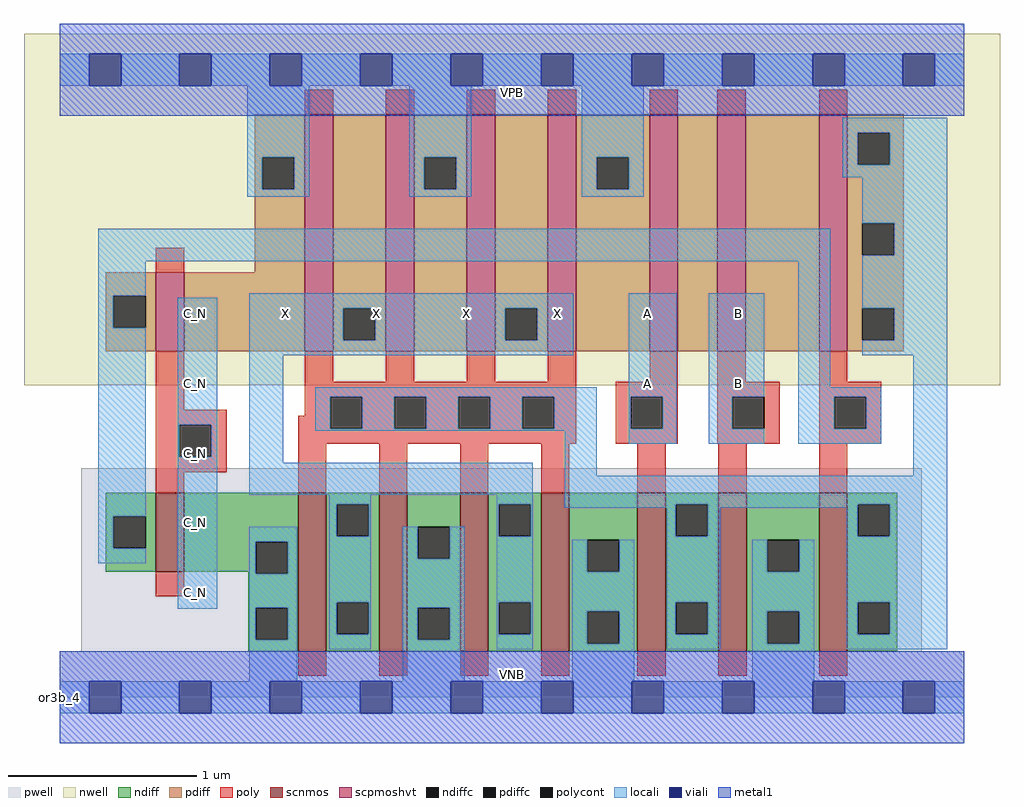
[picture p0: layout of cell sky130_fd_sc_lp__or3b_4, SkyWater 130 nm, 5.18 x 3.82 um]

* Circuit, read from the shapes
.subckt sky130_fd_sc_lp__or3b_4 A B C_N VGND VNB VPB VPWR X
XM1 VGND C_N n1 VNB sky130_fd_pr__nfet_01v8 w=0.42 l=0.15
XM2 X n2 VGND VNB sky130_fd_pr__nfet_01v8 w=0.84 l=0.15 m=4
XM3 n2 A VGND VNB sky130_fd_pr__nfet_01v8 w=0.84 l=0.15
XM4 VGND B n2 VNB sky130_fd_pr__nfet_01v8 w=0.84 l=0.15
XM5 n2 n1 VGND VNB sky130_fd_pr__nfet_01v8 w=0.84 l=0.15
XM6 VPWR C_N n1 VPB sky130_fd_pr__pfet_01v8_hvt w=0.42 l=0.15
XM7 X n2 VPWR VPB sky130_fd_pr__pfet_01v8_hvt w=1.26 l=0.15 m=4
XM8 n3 A VPWR VPB sky130_fd_pr__pfet_01v8_hvt w=1.26 l=0.15
XM9 n4 B n3 VPB sky130_fd_pr__pfet_01v8_hvt w=1.26 l=0.15
XM10 n2 n1 n4 VPB sky130_fd_pr__pfet_01v8_hvt w=1.26 l=0.15
.ends

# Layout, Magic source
magic
tech sky130A
magscale 1 2
<< nwell >>
rect -38 331 998 704
<< pwell >>
rect 23 49 915 243
rect 0 0 960 49
<< scnmos >>
rect 102 133 132 217
rect 253 49 283 217
rect 339 49 369 217
rect 425 49 455 217
rect 511 49 541 217
rect 613 49 643 217
rect 699 49 729 217
rect 806 49 836 217
<< scpmoshvt >>
rect 102 367 132 451
rect 260 367 290 619
rect 346 367 376 619
rect 432 367 462 619
rect 518 367 548 619
rect 626 367 656 619
rect 698 367 728 619
rect 806 367 836 619
<< ndiff >>
rect 49 192 102 217
rect 49 158 57 192
rect 91 158 102 192
rect 49 133 102 158
rect 132 165 253 217
rect 132 133 208 165
rect 200 131 208 133
rect 242 131 253 165
rect 200 95 253 131
rect 200 61 208 95
rect 242 61 253 95
rect 200 49 253 61
rect 283 205 339 217
rect 283 171 294 205
rect 328 171 339 205
rect 283 101 339 171
rect 283 67 294 101
rect 328 67 339 101
rect 283 49 339 67
rect 369 181 425 217
rect 369 147 380 181
rect 414 147 425 181
rect 369 95 425 147
rect 369 61 380 95
rect 414 61 425 95
rect 369 49 425 61
rect 455 205 511 217
rect 455 171 466 205
rect 500 171 511 205
rect 455 101 511 171
rect 455 67 466 101
rect 500 67 511 101
rect 455 49 511 67
rect 541 167 613 217
rect 541 133 560 167
rect 594 133 613 167
rect 541 91 613 133
rect 541 57 560 91
rect 594 57 613 91
rect 541 49 613 57
rect 643 205 699 217
rect 643 171 654 205
rect 688 171 699 205
rect 643 101 699 171
rect 643 67 654 101
rect 688 67 699 101
rect 643 49 699 67
rect 729 167 806 217
rect 729 133 751 167
rect 785 133 806 167
rect 729 91 806 133
rect 729 57 751 91
rect 785 57 806 91
rect 729 49 806 57
rect 836 205 889 217
rect 836 171 847 205
rect 881 171 889 205
rect 836 101 889 171
rect 836 67 847 101
rect 881 67 889 101
rect 836 49 889 67
<< pdiff >>
rect 207 573 260 619
rect 207 539 215 573
rect 249 539 260 573
rect 207 451 260 539
rect 49 426 102 451
rect 49 392 57 426
rect 91 392 102 426
rect 49 367 102 392
rect 132 367 260 451
rect 290 413 346 619
rect 290 379 301 413
rect 335 379 346 413
rect 290 367 346 379
rect 376 573 432 619
rect 376 539 387 573
rect 421 539 432 573
rect 376 367 432 539
rect 462 413 518 619
rect 462 379 473 413
rect 507 379 518 413
rect 462 367 518 379
rect 548 573 626 619
rect 548 539 570 573
rect 604 539 626 573
rect 548 367 626 539
rect 656 367 698 619
rect 728 367 806 619
rect 836 599 896 619
rect 836 565 847 599
rect 881 565 896 599
rect 836 503 896 565
rect 836 469 852 503
rect 886 469 896 503
rect 836 413 896 469
rect 836 379 852 413
rect 886 379 896 413
rect 836 367 896 379
<< ndiffc >>
rect 57 158 91 192
rect 208 131 242 165
rect 208 61 242 95
rect 294 171 328 205
rect 294 67 328 101
rect 380 147 414 181
rect 380 61 414 95
rect 466 171 500 205
rect 466 67 500 101
rect 560 133 594 167
rect 560 57 594 91
rect 654 171 688 205
rect 654 67 688 101
rect 751 133 785 167
rect 751 57 785 91
rect 847 171 881 205
rect 847 67 881 101
<< pdiffc >>
rect 215 539 249 573
rect 57 392 91 426
rect 301 379 335 413
rect 387 539 421 573
rect 473 379 507 413
rect 570 539 604 573
rect 847 565 881 599
rect 852 469 886 503
rect 852 379 886 413
<< poly >>
rect 260 619 290 645
rect 346 619 376 645
rect 432 619 462 645
rect 518 619 548 645
rect 626 619 656 645
rect 698 619 728 645
rect 806 619 836 645
rect 102 451 132 477
rect 102 305 132 367
rect 260 335 290 367
rect 346 335 376 367
rect 432 335 462 367
rect 518 335 548 367
rect 626 335 656 367
rect 260 319 548 335
rect 102 289 177 305
rect 260 299 287 319
rect 102 255 127 289
rect 161 255 177 289
rect 102 239 177 255
rect 253 285 287 299
rect 321 285 355 319
rect 389 285 423 319
rect 457 285 491 319
rect 525 285 548 319
rect 253 269 548 285
rect 590 319 656 335
rect 590 285 606 319
rect 640 285 656 319
rect 590 269 656 285
rect 698 335 728 367
rect 806 335 836 367
rect 698 319 764 335
rect 698 285 714 319
rect 748 285 764 319
rect 698 269 764 285
rect 806 319 872 335
rect 806 285 822 319
rect 856 285 872 319
rect 806 269 872 285
rect 102 217 132 239
rect 253 217 283 269
rect 339 217 369 269
rect 425 217 455 269
rect 511 217 541 269
rect 613 217 643 269
rect 699 217 729 269
rect 806 217 836 269
rect 102 107 132 133
rect 253 23 283 49
rect 339 23 369 49
rect 425 23 455 49
rect 511 23 541 49
rect 613 23 643 49
rect 699 23 729 49
rect 806 23 836 49
<< polycont >>
rect 127 255 161 289
rect 287 285 321 319
rect 355 285 389 319
rect 423 285 457 319
rect 491 285 525 319
rect 606 285 640 319
rect 714 285 748 319
rect 822 285 856 319
<< locali >>
rect 0 649 31 683
rect 65 649 127 683
rect 161 649 223 683
rect 257 649 319 683
rect 353 649 415 683
rect 449 649 511 683
rect 545 649 607 683
rect 641 649 703 683
rect 737 649 799 683
rect 833 649 895 683
rect 929 649 960 683
rect 199 573 265 649
rect 199 539 215 573
rect 249 539 265 573
rect 199 531 265 539
rect 371 573 437 649
rect 371 539 387 573
rect 421 539 437 573
rect 371 531 437 539
rect 554 573 620 649
rect 554 539 570 573
rect 604 539 620 573
rect 831 599 942 615
rect 831 565 847 599
rect 881 565 942 599
rect 831 552 942 565
rect 554 531 620 539
rect 852 503 942 552
rect 41 463 818 497
rect 41 426 91 463
rect 41 392 57 426
rect 41 192 91 392
rect 41 158 57 192
rect 41 142 91 158
rect 125 289 167 424
rect 125 255 127 289
rect 161 255 167 289
rect 125 94 167 255
rect 201 413 545 429
rect 201 379 301 413
rect 335 379 473 413
rect 507 379 545 413
rect 201 363 545 379
rect 201 249 237 363
rect 271 319 570 329
rect 271 285 287 319
rect 321 285 355 319
rect 389 285 423 319
rect 457 285 491 319
rect 525 285 570 319
rect 271 283 570 285
rect 201 215 502 249
rect 286 205 330 215
rect 201 165 252 181
rect 201 131 208 165
rect 242 131 252 165
rect 201 95 252 131
rect 201 61 208 95
rect 242 61 252 95
rect 201 17 252 61
rect 286 171 294 205
rect 328 171 330 205
rect 464 205 502 215
rect 286 101 330 171
rect 286 67 294 101
rect 328 67 330 101
rect 286 51 330 67
rect 364 147 380 181
rect 414 147 430 181
rect 364 95 430 147
rect 364 61 380 95
rect 414 61 430 95
rect 364 17 430 61
rect 464 171 466 205
rect 500 171 502 205
rect 536 235 570 283
rect 604 319 655 429
rect 604 285 606 319
rect 640 285 655 319
rect 604 269 655 285
rect 689 319 748 429
rect 689 285 714 319
rect 689 269 748 285
rect 784 329 818 463
rect 886 469 942 503
rect 852 413 942 469
rect 886 379 942 413
rect 852 363 942 379
rect 784 319 872 329
rect 784 285 822 319
rect 856 285 872 319
rect 784 269 872 285
rect 906 235 942 363
rect 536 205 942 235
rect 536 201 654 205
rect 464 101 502 171
rect 644 171 654 201
rect 688 201 847 205
rect 688 171 701 201
rect 464 67 466 101
rect 500 67 502 101
rect 464 51 502 67
rect 544 133 560 167
rect 594 133 610 167
rect 544 91 610 133
rect 544 57 560 91
rect 594 57 610 91
rect 544 17 610 57
rect 644 101 701 171
rect 835 171 847 201
rect 881 171 942 205
rect 644 67 654 101
rect 688 67 701 101
rect 644 51 701 67
rect 735 133 751 167
rect 785 133 801 167
rect 735 91 801 133
rect 735 57 751 91
rect 785 57 801 91
rect 735 17 801 57
rect 835 101 942 171
rect 835 67 847 101
rect 881 67 942 101
rect 835 51 942 67
rect 0 -17 31 17
rect 65 -17 127 17
rect 161 -17 223 17
rect 257 -17 319 17
rect 353 -17 415 17
rect 449 -17 511 17
rect 545 -17 607 17
rect 641 -17 703 17
rect 737 -17 799 17
rect 833 -17 895 17
rect 929 -17 960 17
<< viali >>
rect 31 649 65 683
rect 127 649 161 683
rect 223 649 257 683
rect 319 649 353 683
rect 415 649 449 683
rect 511 649 545 683
rect 607 649 641 683
rect 703 649 737 683
rect 799 649 833 683
rect 895 649 929 683
rect 31 -17 65 17
rect 127 -17 161 17
rect 223 -17 257 17
rect 319 -17 353 17
rect 415 -17 449 17
rect 511 -17 545 17
rect 607 -17 641 17
rect 703 -17 737 17
rect 799 -17 833 17
rect 895 -17 929 17
<< metal1 >>
rect 0 683 960 715
rect 0 649 31 683
rect 65 649 127 683
rect 161 649 223 683
rect 257 649 319 683
rect 353 649 415 683
rect 449 649 511 683
rect 545 649 607 683
rect 641 649 703 683
rect 737 649 799 683
rect 833 649 895 683
rect 929 649 960 683
rect 0 617 960 649
rect 0 17 960 49
rect 0 -17 31 17
rect 65 -17 127 17
rect 161 -17 223 17
rect 257 -17 319 17
rect 353 -17 415 17
rect 449 -17 511 17
rect 545 -17 607 17
rect 641 -17 703 17
rect 737 -17 799 17
rect 833 -17 895 17
rect 929 -17 960 17
rect 0 -49 960 -17
<< labels >>
flabel pwell s 0 0 960 49 0 FreeSans 200 0 0 0 VNB
port 5 nsew ground bidirectional
flabel nwell s 0 617 960 666 0 FreeSans 200 0 0 0 VPB
port 6 nsew power bidirectional
rlabel comment s 0 0 0 0 4 or3b_4
flabel metal1 s 0 617 960 666 0 FreeSans 340 0 0 0 VPWR
port 7 nsew power bidirectional
flabel metal1 s 0 0 960 49 0 FreeSans 340 0 0 0 VGND
port 4 nsew ground bidirectional
flabel locali s 607 316 641 350 0 FreeSans 340 0 0 0 A
port 1 nsew signal input
flabel locali s 607 390 641 424 0 FreeSans 340 0 0 0 A
port 1 nsew signal input
flabel locali s 703 316 737 350 0 FreeSans 340 0 0 0 B
port 2 nsew signal input
flabel locali s 703 390 737 424 0 FreeSans 340 0 0 0 B
port 2 nsew signal input
flabel locali s 127 94 161 128 0 FreeSans 340 0 0 0 C_N
port 3 nsew signal input
flabel locali s 127 168 161 202 0 FreeSans 340 0 0 0 C_N
port 3 nsew signal input
flabel locali s 127 242 161 276 0 FreeSans 340 0 0 0 C_N
port 3 nsew signal input
flabel locali s 127 316 161 350 0 FreeSans 340 0 0 0 C_N
port 3 nsew signal input
flabel locali s 127 390 161 424 0 FreeSans 340 0 0 0 C_N
port 3 nsew signal input
flabel locali s 223 390 257 424 0 FreeSans 340 0 0 0 X
port 8 nsew signal output
flabel locali s 319 390 353 424 0 FreeSans 340 0 0 0 X
port 8 nsew signal output
flabel locali s 415 390 449 424 0 FreeSans 340 0 0 0 X
port 8 nsew signal output
flabel locali s 511 390 545 424 0 FreeSans 340 0 0 0 X
port 8 nsew signal output
<< properties >>
string LEFsite unit
string LEFclass CORE
string FIXED_BBOX 0 0 960 666
string GDS_FILE $PDKPATH/libs.ref/sky130_fd_sc_lp/gds/sky130_fd_sc_lp.gds
string LEFsymmetry X Y R90
string GDS_END 1632100
string GDS_START 1623912
<< end >>
